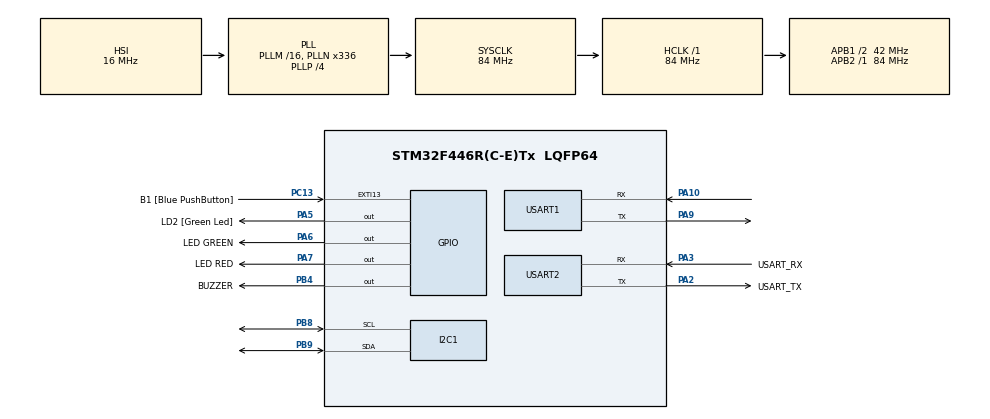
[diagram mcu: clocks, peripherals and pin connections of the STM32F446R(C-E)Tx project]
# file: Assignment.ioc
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I2C1.I2C_Mode=I2C_Fast
Mcu.Family=STM32F4
Mcu.Name=STM32F446R(C-E)Tx
Mcu.Package=LQFP64
NVIC.PriorityGroup=NVIC_PRIORITYGROUP_0
PA10.Mode=Asynchronous
PA10.Signal=USART1_RX
PA13.GPIO_Label=TMS
PA13.Mode=Serial_Wire
PA13.Signal=SYS_JTMS-SWDIO
PA14.GPIO_Label=TCK
PA14.Mode=Serial_Wire
PA14.Signal=SYS_JTCK-SWCLK
PA2.GPIO_Label=USART_TX
PA2.Mode=Asynchronous
PA2.Signal=USART2_TX
PA3.GPIO_Label=USART_RX
PA3.Mode=Asynchronous
PA3.Signal=USART2_RX
PA5.GPIO_Label=LD2 [Green Led]
PA5.Signal=GPIO_Output
PA6.GPIO_Label=LED GREEN
PA6.Signal=GPIO_Output
PA7.GPIO_Label=LED RED
PA7.Signal=GPIO_Output
PA9.Mode=Asynchronous
PA9.Signal=USART1_TX
PB3.GPIO_Label=SWO
PB3.Signal=SYS_JTDO-SWO
PB4.GPIO_Label=BUZZER
PB4.Signal=GPIO_Output
PB8.Mode=I2C
PB8.Signal=I2C1_SCL
PB9.Mode=I2C
PB9.Signal=I2C1_SDA
PC13.GPIO_Label=B1 [Blue PushButton]
PC13.GPIO_ModeDefaultEXTI=GPIO_MODE_IT_FALLING
PC13.Signal=GPXTI13
PC14-OSC32_IN.Mode=LSE-External-Oscillator
PC14-OSC32_IN.Signal=RCC_OSC32_IN
PC15-OSC32_OUT.Mode=LSE-External-Oscillator
PC15-OSC32_OUT.Signal=RCC_OSC32_OUT
PH0-OSC_IN.Mode=HSE-External-Oscillator
PH0-OSC_IN.Signal=RCC_OSC_IN
PH1-OSC_OUT.Mode=HSE-External-Oscillator
PH1-OSC_OUT.Signal=RCC_OSC_OUT
ProjectManager.HeapSize=0x200
ProjectManager.StackSize=0x400
ProjectManager.TargetToolchain=STM32CubeIDE
RCC.48MHZClocksFreq_Value=84000000
RCC.AHBFreq_Value=84000000
RCC.APB1CLKDivider=RCC_HCLK_DIV2
RCC.APB1Freq_Value=42000000
RCC.APB1TimFreq_Value=84000000
RCC.APB2Freq_Value=84000000
RCC.APB2TimFreq_Value=84000000
RCC.CortexFreq_Value=84000000
RCC.FLatency-AdvancedSettings=FLASH_LATENCY_2
RCC.HCLKFreq_Value=84000000
RCC.HSE_VALUE=8000000
RCC.HSI_VALUE=16000000
RCC.PLLN=336
RCC.PLLP=RCC_PLLP_DIV4
RCC.SYSCLKFreq_VALUE=84000000
RCC.SYSCLKSource=RCC_SYSCLKSOURCE_PLLCLK
RCC.USBFreq_Value=168000000
RCC.VCOOutputFreq_Value=336000000
USART1.VirtualMode=VM_ASYNC
USART2.VirtualMode=VM_ASYNC
board=NUCLEO-F446RE

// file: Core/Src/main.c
/* USER CODE BEGIN Header */
/**
  ******************************************************************************
  * @file           : main.c
  * @brief          : Main program body with 90 BPM Alert Threshold
  ******************************************************************************
  */
/* USER CODE END Header */
#include "main.h"

/* USER CODE BEGIN Includes */
#include <stdio.h>
#include <string.h>
#include "ssd1306.h"
#include "ssd1306_fonts.h"
#include "max30102_for_stm32_hal.h"
#include "stm32f4xx_hal_pwr_ex.h"
#include "stm32f4xx_hal_rcc_ex.h"
/* USER CODE END Includes */

I2C_HandleTypeDef hi2c1;
UART_HandleTypeDef huart1;
UART_HandleTypeDef huart2;

max30102_t max30102;

/* USER CODE BEGIN Private Variables */
#define WIFI_SSID       "HONOR X9a 5G"
#define WIFI_PASSWORD   "fatin2003"
/* USER CODE END Private Variables */

void SystemClock_Config(void);
static void MX_GPIO_Init(void);
static void MX_USART2_UART_Init(void);
static void MX_I2C1_Init(void);
static void MX_USART1_UART_Init(void);
/* USER CODE BEGIN PFP */
uint8_t ESP_Send_Command(char* command, char* expected_reply, uint32_t timeout);
void ESP_Init_WiFi(char* ssid, char* password);
void ESP_Send_To_My_API(int bpm);
/* USER CODE END PFP */

/* USER CODE BEGIN 0 */
void Draw_Large_Heart(uint8_t x, uint8_t y) {
    for(int i=4; i<=9; i++) {
        ssd1306_DrawPixel(x+i, y, 1);    ssd1306_DrawPixel(x+i, y+1, 1);
        ssd1306_DrawPixel(x+i+10, y, 1); ssd1306_DrawPixel(x+i+10, y+1, 1);
    }
    for(int i=2; i<=11; i++) {
        ssd1306_DrawPixel(x+i, y+2, 1);  ssd1306_DrawPixel(x+i, y+3, 1);
        ssd1306_DrawPixel(x+i+10, y+2, 1); ssd1306_DrawPixel(x+i+10, y+3, 1);
    }
    for(int j=4; j<=9; j++) {
        for(int i=1; i<=22; i++) { ssd1306_DrawPixel(x+i, y+j, 1); }
    }
    for(int i=2;  i<=21; i++) { ssd1306_DrawPixel(x+i, y+10, 1); ssd1306_DrawPixel(x+i, y+11, 1); }
    for(int i=4;  i<=19; i++) { ssd1306_DrawPixel(x+i, y+12, 1); ssd1306_DrawPixel(x+i, y+13, 1); }
    for(int i=6;  i<=17; i++) { ssd1306_DrawPixel(x+i, y+14, 1); ssd1306_DrawPixel(x+i, y+15, 1); }
    for(int i=8;  i<=15; i++) { ssd1306_DrawPixel(x+i, y+16, 1); ssd1306_DrawPixel(x+i, y+17, 1); }
    for(int i=10; i<=13; i++) { ssd1306_DrawPixel(x+i, y+18, 1); ssd1306_DrawPixel(x+i, y+19, 1); }
    ssd1306_DrawPixel(x+11, y+20, 1); ssd1306_DrawPixel(x+12, y+20, 1);
    ssd1306_DrawPixel(x+11, y+21, 1); ssd1306_DrawPixel(x+12, y+21, 1);
}

void Draw_Small_Heart(uint8_t x, uint8_t y) {
    x += 4; y += 4;
    for(int i=2; i<=5; i++) { ssd1306_DrawPixel(x+i, y, 1);   ssd1306_DrawPixel(x+i+7, y, 1); }
    for(int i=1; i<=6; i++) { ssd1306_DrawPixel(x+i, y+1, 1); ssd1306_DrawPixel(x+i+7, y+1, 1); }
    for(int i=0; i<=14; i++) {
        ssd1306_DrawPixel(x+i, y+2, 1); ssd1306_DrawPixel(x+i, y+3, 1);
        ssd1306_DrawPixel(x+i, y+4, 1); ssd1306_DrawPixel(x+i, y+5, 1);
    }
    for(int i=1;  i<=13; i++) { ssd1306_DrawPixel(x+i, y+6, 1);  ssd1306_DrawPixel(x+i, y+7, 1); }
    for(int i=3;  i<=11; i++) { ssd1306_DrawPixel(x+i, y+8, 1);  ssd1306_DrawPixel(x+i, y+9, 1); }
    for(int i=5;  i<=9; i++)  { ssd1306_DrawPixel(x+i, y+10, 1); ssd1306_DrawPixel(x+i, y+11, 1); }
    for(int i=6;  i<=8; i++)  { ssd1306_DrawPixel(x+i, y+12, 1); ssd1306_DrawPixel(x+i, y+13, 1); }
    ssd1306_DrawPixel(x+7, y+14, 1);
}
/* USER CODE END 0 */

int main(void)
{
  HAL_Init();
  SystemClock_Config();

  MX_GPIO_Init();
  MX_USART2_UART_Init();
  MX_I2C1_Init();
  MX_USART1_UART_Init();

  ssd1306_Init();
  ssd1306_Fill(Black);
  ssd1306_SetCursor(0, 0);
  ssd1306_WriteString("Optimizing Bus...", Font_7x10, White);
  ssd1306_UpdateScreen();
  HAL_Delay(500);

  ssd1306_Fill(Black);
  ssd1306_SetCursor(0, 0);
  ssd1306_WriteString("UART Stream...", Font_7x10, White);
  ssd1306_UpdateScreen();
  HAL_Delay(500);

  if (HAL_I2C_IsDeviceReady(&hi2c1, (0x57 << 1), 5, 1000) == HAL_OK)
  {
      ssd1306_Fill(Black);
      ssd1306_SetCursor(0, 0);
      ssd1306_WriteString("MAX30102: ONLINE", Font_7x10, White);
      ssd1306_SetCursor(0, 15);
      ssd1306_WriteString("Realtime Mode...", Font_7x10, White);
      ssd1306_UpdateScreen();
      HAL_Delay(800);
  }
  else
  {
      ssd1306_Fill(Black);
      ssd1306_SetCursor(0, 0);
      ssd1306_WriteString("BUS ERROR", Font_7x10, White);
      ssd1306_UpdateScreen();
      while(1);
  }

  max30102_init(&max30102, &hi2c1);
  max30102_reset(&max30102);
  HAL_Delay(100);

  uint8_t mode_config = 0x03;
  max30102_write(&max30102, MAX30102_MODE_CONFIG, &mode_config, 1);
  HAL_Delay(10);

  uint8_t led_current = 0x24;
  max30102_write(&max30102, MAX30102_LED_IR_PA1, &led_current, 1);
  max30102_write(&max30102, MAX30102_LED_RED_PA2, &led_current, 1);

  uint8_t spo2_config = 0x27;
  max30102_write(&max30102, MAX30102_SPO2_CONFIG, &spo2_config, 1);
  max30102_clear_fifo(&max30102);

  ssd1306_Fill(Black);
  ssd1306_SetCursor(0, 0);
  ssd1306_WriteString("Place Finger", Font_11x18, White);
  ssd1306_UpdateScreen();

  char display_buffer[32];
  uint32_t last_display_update = 0;
  uint32_t last_led_blink = 0;
  uint32_t last_fifo_read = 0;

  uint32_t last_ir = 0;
  uint32_t last_beat_time = 0;
  int raw_bpm = 0;
  int display_bpm = 0;
  int is_beating = 0;
  uint32_t beat_hold_start = 0;
  uint32_t buzzer_duration = 60;

  int bpm_history[4] = {0, 0, 0, 0};
  int history_index = 0;

  uint32_t last_thingspeak_upload = 0;

  while (1)
  {
      if (HAL_GetTick() - last_fifo_read > 10)
      {
          last_fifo_read = HAL_GetTick();

          uint8_t wr_ptr = 0, rd_ptr = 0;
          max30102_read(&max30102, MAX30102_FIFO_WR_PTR, &wr_ptr, 1);
          max30102_read(&max30102, MAX30102_FIFO_RD_PTR, &rd_ptr, 1);

          int8_t accumulated = (int8_t)wr_ptr - (int8_t)rd_ptr;
          if (accumulated < 0) accumulated += 32;
          if (accumulated > 16) max30102_clear_fifo(&max30102);

          max30102_read_fifo(&max30102);
          uint32_t current_ir = max30102._ir_samples[0];

          // Dynamic screen heart-recoil animation matching your 90 BPM alarm state
          uint32_t animation_duration = (display_bpm < 90) ? 140 : 450;
          if (is_beating && (HAL_GetTick() - beat_hold_start > animation_duration)) {
              is_beating = 0;
          }

          // 👉 AUTOMATIC PERIPHERAL SHUTOFF
          if (HAL_GetTick() - beat_hold_start > buzzer_duration) {
              HAL_GPIO_WritePin(GPIOB, GPIO_PIN_4, GPIO_PIN_RESET); // Buzzer (PB4) OFF
              HAL_GPIO_WritePin(GPIOA, GPIO_PIN_6, GPIO_PIN_RESET); // Green LED (PA6) OFF
              HAL_GPIO_WritePin(GPIOA, GPIO_PIN_7, GPIO_PIN_RESET); // Red LED (PA7) OFF
          }

          if (current_ir > 20000) {
              if ((last_ir > current_ir) && (HAL_GetTick() - last_beat_time > 450)) {
                  uint32_t time_diff = HAL_GetTick() - last_beat_time;
                  raw_bpm = 60000 / time_diff;

                  if (raw_bpm >= 40 && raw_bpm <= 180) {
                      is_beating = 1;
                      beat_hold_start = HAL_GetTick();

                      bpm_history[history_index] = raw_bpm;
                      history_index = (history_index + 1) % 4;

                      int sum = 0, valid_beats = 0;
                      for(int i = 0; i < 4; i++) {
                          if(bpm_history[i] > 0) { sum += bpm_history[i]; valid_beats++; }
                      }
                      if(valid_beats > 0) display_bpm = sum / valid_beats;

                      // 👉 ACTION LAYERS UPDATED TO 90 BPM CRITERIA
                      if (display_bpm < 90) {
                          buzzer_duration = 60; // Short "Bip"
                          HAL_GPIO_WritePin(GPIOA, GPIO_PIN_6, GPIO_PIN_SET); // Green ON
                          HAL_GPIO_WritePin(GPIOB, GPIO_PIN_4, GPIO_PIN_SET); // Buzzer ON
                      } else {
                          buzzer_duration = 450; // Sustained Alert "Bipppppp"
                          HAL_GPIO_WritePin(GPIOA, GPIO_PIN_7, GPIO_PIN_SET); // Red ON
                          HAL_GPIO_WritePin(GPIOB, GPIO_PIN_4, GPIO_PIN_SET); // Buzzer ON
                      }
                  }
                  last_beat_time = HAL_GetTick();
              }
          } else {
              display_bpm = 0;
              is_beating = 0;
              for(int i=0; i<4; i++) bpm_history[i] = 0;
              HAL_GPIO_WritePin(GPIOA, GPIO_PIN_6 | GPIO_PIN_7, GPIO_PIN_RESET);
              HAL_GPIO_WritePin(GPIOB, GPIO_PIN_4, GPIO_PIN_RESET);
          }
          last_ir = current_ir;
      }

      if (HAL_GetTick() - last_display_update > 150)
      {
          last_display_update = HAL_GetTick();
          ssd1306_Fill(Black);
          ssd1306_SetCursor(4, 2);
          ssd1306_WriteString("PULSE MONITOR", Font_7x10, White);
          for(uint8_t i = 0; i < 128; i++) { ssd1306_DrawPixel(i, 13, 1); }

          if (display_bpm > 0) {
              sprintf(display_buffer, "%d", display_bpm);
              ssd1306_SetCursor(8, 30);
              ssd1306_WriteString(display_buffer, Font_11x18, White);
              ssd1306_SetCursor(48, 36);
              ssd1306_WriteString("BPM", Font_7x10, White);
              if (is_beating) Draw_Large_Heart(88, 24); else Draw_Small_Heart(88, 24);
          } else {
              ssd1306_SetCursor(10, 34);
              ssd1306_WriteString("PLACE FINGER...", Font_7x10, White);
          }
          ssd1306_UpdateScreen();
      }

      if (HAL_GetTick() - last_led_blink > 500)
      {
          last_led_blink = HAL_GetTick();
          HAL_GPIO_TogglePin(LD2_GPIO_Port, LD2_Pin);
      }

      if (display_bpm > 0 && (HAL_GetTick() - last_thingspeak_upload > 1000))
      {
          last_thingspeak_upload = HAL_GetTick();
          ssd1306_SetCursor(4, 54);
          ssd1306_WriteString("DB SYNC...", Font_7x10, White);
          ssd1306_UpdateScreen();
          ESP_Send_To_My_API(display_bpm);
      }
  }
}

/* USER CODE BEGIN 4 */
void ESP_Send_To_My_API(int bpm) {
    char tx_packet[32];
    int pkt_len = sprintf(tx_packet, "<BPM:%d>\n", bpm);
    HAL_UART_Transmit(&huart1, (uint8_t*)tx_packet, pkt_len, 500);
}
uint8_t ESP_Send_Command(char* command, char* expected_reply, uint32_t timeout) { return 1; }
void ESP_Init_WiFi(char* ssid, char* password) { return; }
/* USER CODE END 4 */

void SystemClock_Config(void) {
  RCC_OscInitTypeDef RCC_OscInitStruct = {0};
  RCC_ClkInitTypeDef RCC_ClkInitStruct = {0};
  __HAL_RCC_PWR_CLK_ENABLE();
  __HAL_PWR_VOLTAGESCALING_CONFIG(PWR_REGULATOR_VOLTAGE_SCALE3);
  RCC_OscInitStruct.OscillatorType = RCC_OSCILLATORTYPE_HSI;
  RCC_OscInitStruct.HSIState = RCC_HSI_ON;
  RCC_OscInitStruct.HSICalibrationValue = RCC_HSICALIBRATION_DEFAULT;
  RCC_OscInitStruct.PLL.PLLState = RCC_PLL_ON;
  RCC_OscInitStruct.PLL.PLLSource = RCC_PLLSOURCE_HSI;
  RCC_OscInitStruct.PLL.PLLM = 16;
  RCC_OscInitStruct.PLL.PLLN = 336;
  RCC_OscInitStruct.PLL.PLLP = RCC_PLLP_DIV4;
  RCC_OscInitStruct.PLL.PLLQ = 2;
  RCC_OscInitStruct.PLL.PLLR = 2;
  HAL_RCC_OscConfig(&RCC_OscInitStruct);

  RCC_ClkInitStruct.ClockType = RCC_CLOCKTYPE_HCLK|RCC_CLOCKTYPE_SYSCLK|RCC_CLOCKTYPE_PCLK1|RCC_CLOCKTYPE_PCLK2;
  RCC_ClkInitStruct.SYSCLKSource = RCC_SYSCLKSOURCE_PLLCLK;
  RCC_ClkInitStruct.AHBCLKDivider = RCC_SYSCLK_DIV1;
  RCC_ClkInitStruct.APB1CLKDivider = RCC_HCLK_DIV2;
  RCC_ClkInitStruct.APB2CLKDivider = RCC_HCLK_DIV1;
  HAL_RCC_ClockConfig(&RCC_ClkInitStruct, FLASH_LATENCY_2);
}

static void MX_I2C1_Init(void) {
  hi2c1.Instance = I2C1;
  hi2c1.Init.ClockSpeed = 400000;
  hi2c1.Init.DutyCycle = I2C_DUTYCYCLE_2;
  hi2c1.Init.OwnAddress1 = 0;
  hi2c1.Init.AddressingMode = I2C_ADDRESSINGMODE_7BIT;
  hi2c1.Init.DualAddressMode = I2C_DUALADDRESS_DISABLE;
  hi2c1.Init.OwnAddress2 = 0;
  hi2c1.Init.GeneralCallMode = I2C_GENERALCALL_DISABLE;
  hi2c1.Init.NoStretchMode = I2C_NOSTRETCH_DISABLE;
  HAL_I2C_Init(&hi2c1);
}

static void MX_USART1_UART_Init(void) {
  huart1.Instance = USART1;
  huart1.Init.BaudRate = 115200;
  huart1.Init.WordLength = UART_WORDLENGTH_8B;
  huart1.Init.StopBits = UART_STOPBITS_1;
  huart1.Init.Parity = UART_PARITY_NONE;
  huart1.Init.Mode = UART_MODE_TX_RX;
  huart1.Init.HwFlowCtl = UART_HWCONTROL_NONE;
  huart1.Init.OverSampling = UART_OVERSAMPLING_16;
  HAL_UART_Init(&huart1);
}

static void MX_USART2_UART_Init(void) {
  huart2.Instance = USART2;
  huart2.Init.BaudRate = 115200;
  huart2.Init.WordLength = UART_WORDLENGTH_8B;
  huart2.Init.StopBits = UART_STOPBITS_1;
  huart2.Init.Parity = UART_PARITY_NONE;
  huart2.Init.Mode = UART_MODE_TX_RX;
  huart2.Init.HwFlowCtl = UART_HWCONTROL_NONE;
  huart2.Init.OverSampling = UART_OVERSAMPLING_16;
  HAL_UART_Init(&huart2);
}

static void MX_GPIO_Init(void) {
  GPIO_InitTypeDef GPIO_InitStruct = {0};
  __HAL_RCC_GPIOC_CLK_ENABLE();
  __HAL_RCC_GPIOH_CLK_ENABLE();
  __HAL_RCC_GPIOA_CLK_ENABLE();
  __HAL_RCC_GPIOB_CLK_ENABLE();
  __HAL_RCC_USART1_CLK_ENABLE();

  HAL_GPIO_WritePin(LD2_GPIO_Port, LD2_Pin, GPIO_PIN_RESET);
  HAL_GPIO_WritePin(GPIOA, GPIO_PIN_6 | GPIO_PIN_7, GPIO_PIN_RESET);
  HAL_GPIO_WritePin(GPIOB, GPIO_PIN_4, GPIO_PIN_RESET);

  GPIO_InitStruct.Pin = B1_Pin;
  GPIO_InitStruct.Mode = GPIO_MODE_IT_FALLING;
  GPIO_InitStruct.Pull = GPIO_NOPULL;
  HAL_GPIO_Init(B1_GPIO_Port, &GPIO_InitStruct);

  GPIO_InitStruct.Pin = LD2_Pin;
  GPIO_InitStruct.Mode = GPIO_MODE_OUTPUT_PP;
  GPIO_InitStruct.Pull = GPIO_NOPULL;
  GPIO_InitStruct.Speed = GPIO_SPEED_FREQ_LOW;
  HAL_GPIO_Init(LD2_GPIO_Port, &GPIO_InitStruct);

  // 👉 PINS UPDATED: PA6 (Green LED), PA7 (Red LED)
  GPIO_InitStruct.Pin = GPIO_PIN_6 | GPIO_PIN_7;
  GPIO_InitStruct.Mode = GPIO_MODE_OUTPUT_PP;
  GPIO_InitStruct.Pull = GPIO_NOPULL;
  GPIO_InitStruct.Speed = GPIO_SPEED_FREQ_LOW;
  HAL_GPIO_Init(GPIOA, &GPIO_InitStruct);

  // 👉 PIN UPDATED: PB4 (Buzzer)
  GPIO_InitStruct.Pin = GPIO_PIN_4;
  GPIO_InitStruct.Mode = GPIO_MODE_OUTPUT_PP;
  GPIO_InitStruct.Pull = GPIO_NOPULL;
  GPIO_InitStruct.Speed = GPIO_SPEED_FREQ_LOW;
  HAL_GPIO_Init(GPIOB, &GPIO_InitStruct);

  GPIO_InitStruct.Pin = GPIO_PIN_9 | GPIO_PIN_10;
  GPIO_InitStruct.Mode = GPIO_MODE_AF_PP;
  GPIO_InitStruct.Pull = GPIO_PULLUP;
  GPIO_InitStruct.Speed = GPIO_SPEED_FREQ_VERY_HIGH;
  GPIO_InitStruct.Alternate = GPIO_AF7_USART1;
  HAL_GPIO_Init(GPIOA, &GPIO_InitStruct);

  GPIO_InitStruct.Pin = GPIO_PIN_8 | GPIO_PIN_9;
  GPIO_InitStruct.Mode = GPIO_MODE_AF_OD;
  GPIO_InitStruct.Pull = GPIO_PULLUP;
  GPIO_InitStruct.Speed = GPIO_SPEED_FREQ_VERY_HIGH;
  GPIO_InitStruct.Alternate = GPIO_AF4_I2C1;
  HAL_GPIO_Init(GPIOB, &GPIO_InitStruct);
}

void Error_Handler(void) {
  __disable_irq();
  while (1) {}
}
